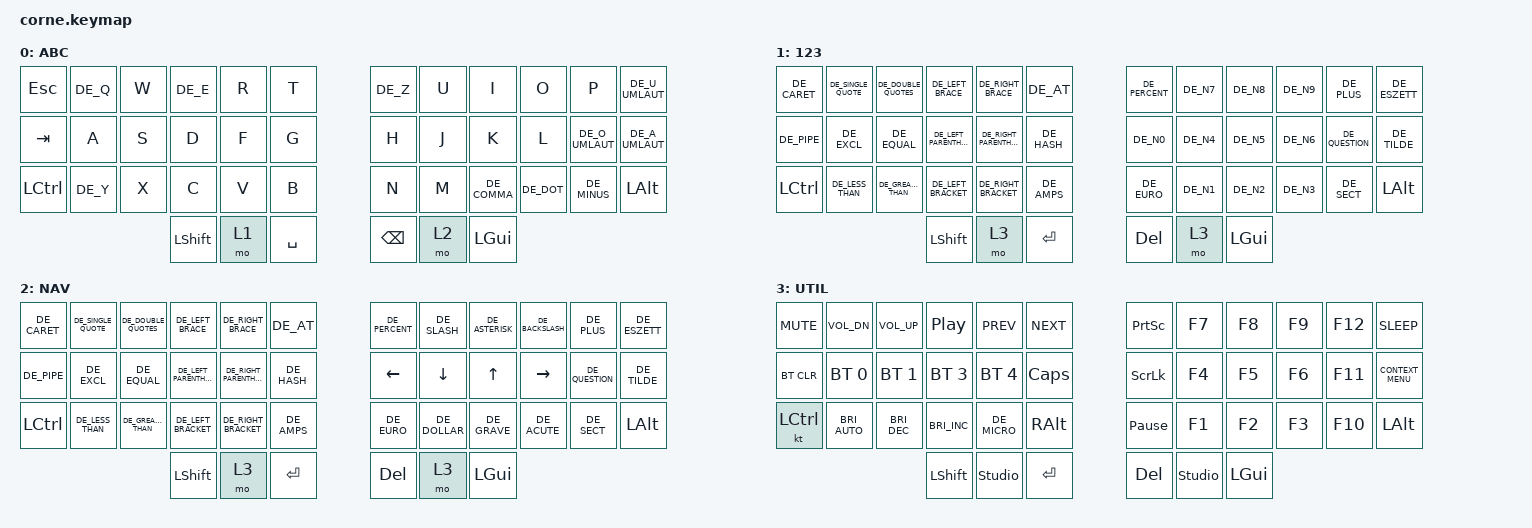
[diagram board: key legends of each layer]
/*
 * Copyright (c) 2020 The ZMK Contributors
 *
 * SPDX-License-Identifier: MIT
 */

#include "keys_de.h"
#include <behaviors.dtsi>
#include <dt-bindings/zmk/bt.h>
#include <dt-bindings/zmk/keys.h>

/ {
    combos {
        compatible = "zmk,combos";

        home {
            bindings = <&kp HOME>;
            key-positions = <18 19>;
        };

        pgup {
            bindings = <&kp PG_UP>;
            key-positions = <7 8>;
        };

        pgdown {
            bindings = <&kp PG_DN>;
            key-positions = <31 32>;
        };

        end {
            bindings = <&kp END>;
            key-positions = <20 21>;
        };
    };

    keymap {
        compatible = "zmk,keymap";

        base {
            // -----------------------------------------------------------------------------------------
            // | ESC |  Q  |  W  |  E  |  R  |  T  |   |  Z  |  U   |  I  |  O  |  P  | Ü |
            // | TAB |  A  |  S  |  D  |  F  |  G  |   |  H  |  J   |  K  |  L  |  Ö  |  Ä  |
            // | LGUI |  Y  |  X  |  C  |  V  |  B  |   |  N  |  M   |  ,  |  .  |  -  | ALT |
            //                    | SHFT | LWR | SPC |   | ENT | RSE  | CTRL |

            bindings = <
&kp ESC    &kp DE_Q  &kp W  &kp DE_E   &kp R  &kp T        &kp DE_Z       &kp U  &kp I         &kp O       &kp P            &kp DE_U_UMLAUT
&kp TAB    &kp A     &kp S  &kp D      &kp F  &kp G        &kp H          &kp J  &kp K         &kp L       &kp DE_O_UMLAUT  &kp DE_A_UMLAUT
&kp LCTRL  &kp DE_Y  &kp X  &kp C      &kp V  &kp B        &kp N          &kp M  &kp DE_COMMA  &kp DE_DOT  &kp DE_MINUS     &kp LEFT_ALT
                            &kp LSHFT  &mo 1  &kp SPACE    &kp BACKSPACE  &mo 2  &kp LEFT_GUI
            >;

            label = "ABC";
        };

        numbers {
            // -----------------------------------------------------------------------------------------
            // |  TAB |  1  |  2  |  3  |  4  |  5  |   |  6  |  7  |  8  |  9  |  0  | BSPC |
            // | BTCLR| BT1 | BT2 | BT3 | BT4 | BT5 |   | LFT | DWN |  UP | RGT |     |      |
            // | SHFT |     |     |     |     |     |   |     |     |     |     |     |      |
            //                    | GUI |     | SPC |   | ENT |     | ALT |

            bindings = <
&kp DE_CARET  &kp DE_SINGLE_QUOTE  &kp DE_DOUBLE_QUOTES  &kp DE_LEFT_BRACE        &kp DE_RIGHT_BRACE        &kp DE_AT      &kp DE_PERCENT  &kp DE_N7  &kp DE_N8     &kp DE_N9  &kp DE_PLUS      &kp DE_ESZETT
&kp DE_PIPE   &kp DE_EXCL          &kp DE_EQUAL          &kp DE_LEFT_PARENTHESIS  &kp DE_RIGHT_PARENTHESIS  &kp DE_HASH    &kp DE_N0       &kp DE_N4  &kp DE_N5     &kp DE_N6  &kp DE_QUESTION  &kp DE_TILDE
&kp LCTRL     &kp DE_LESS_THAN     &kp DE_GREATER_THAN   &kp DE_LEFT_BRACKET      &kp DE_RIGHT_BRACKET      &kp DE_AMPS    &kp DE_EURO     &kp DE_N1  &kp DE_N2     &kp DE_N3  &kp DE_SECT      &kp LEFT_ALT
                                                         &kp LSHFT                &mo 3                     &kp ENTER      &kp DELETE      &mo 3      &kp LEFT_GUI
            >;

            label = "123";
        };

        navigation {
            label = "NAV";
            bindings = <
&kp DE_CARET  &kp DE_SINGLE_QUOTE  &kp DE_DOUBLE_QUOTES  &kp DE_LEFT_BRACE        &kp DE_RIGHT_BRACE        &kp DE_AT      &kp DE_PERCENT  &kp DE_SLASH   &kp DE_ASTERISK  &kp DE_BACKSLASH  &kp DE_PLUS      &kp DE_ESZETT
&kp DE_PIPE   &kp DE_EXCL          &kp DE_EQUAL          &kp DE_LEFT_PARENTHESIS  &kp DE_RIGHT_PARENTHESIS  &kp DE_HASH    &kp LEFT_ARROW  &kp DOWN       &kp UP           &kp RIGHT         &kp DE_QUESTION  &kp DE_TILDE
&kp LCTRL     &kp DE_LESS_THAN     &kp DE_GREATER_THAN   &kp DE_LEFT_BRACKET      &kp DE_RIGHT_BRACKET      &kp DE_AMPS    &kp DE_EURO     &kp DE_DOLLAR  &kp DE_GRAVE     &kp DE_ACUTE      &kp DE_SECT      &kp LEFT_ALT
                                                         &kp LSHFT                &mo 3                     &kp ENTER      &kp DELETE      &mo 3          &kp LEFT_GUI
            >;
        };

        UTIL_LAYER {
            bindings = <
&kp C_MUTE  &kp C_VOL_DN           &kp C_VOL_UP          &kp C_PLAY_PAUSE      &kp C_PREV      &kp C_NEXT       &kp PRINTSCREEN  &kp F7          &kp F8        &kp F9  &kp F12  &kp C_SLEEP
&bt BT_CLR  &bt BT_SEL 0           &bt BT_SEL 1          &bt BT_SEL 3          &bt BT_SEL 4    &kp CAPS         &kp SCROLLLOCK   &kp F4          &kp F5        &kp F6  &kp F11  &kp K_CONTEXT_MENU
&kt LCTRL   &kp C_BRIGHTNESS_AUTO  &kp C_BRIGHTNESS_DEC  &kp C_BRIGHTNESS_INC  &kp DE_MICRO    &kp RIGHT_ALT    &kp PAUSE_BREAK  &kp F1          &kp F2        &kp F3  &kp F10  &kp LEFT_ALT
                                                         &kp LSHFT             &studio_unlock  &kp RET          &kp DELETE       &studio_unlock  &kp LEFT_GUI
            >;

            label = "UTIL";
        };
    };
};
